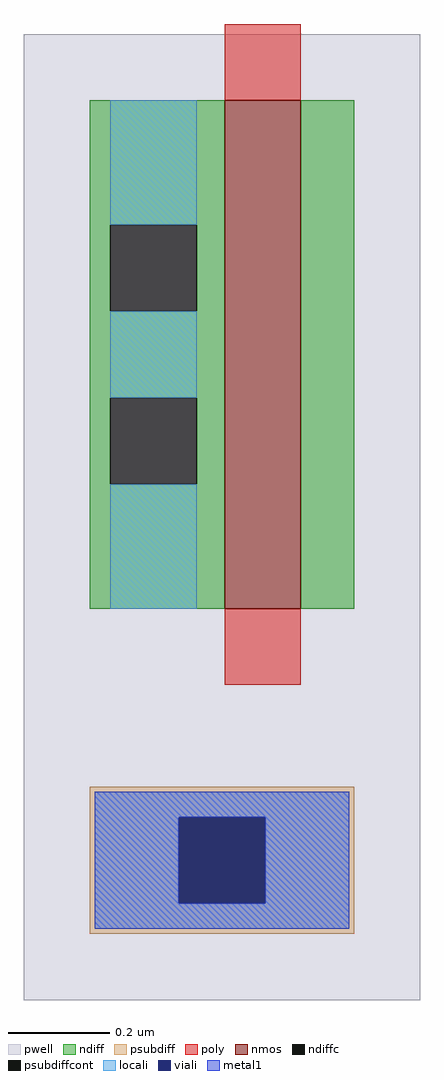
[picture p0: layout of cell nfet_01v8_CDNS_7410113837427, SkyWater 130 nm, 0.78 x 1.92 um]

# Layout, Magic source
magic
tech sky130A
magscale 1 2
<< pwell >>
rect -79 -154 77 226
<< nmos >>
rect 0 0 30 200
<< ndiff >>
rect -53 151 0 200
rect -53 117 -45 151
rect -11 117 0 151
rect -53 83 0 117
rect -53 49 -45 83
rect -11 49 0 83
rect -53 0 0 49
rect 30 0 51 200
<< ndiffc >>
rect -45 117 -11 151
rect -45 49 -11 83
<< psubdiff >>
rect -53 -82 51 -70
rect -53 -116 -18 -82
rect 16 -116 51 -82
rect -53 -128 51 -116
<< psubdiffcont >>
rect -18 -116 16 -82
<< poly >>
rect 0 200 30 230
rect 0 -30 30 0
<< locali >>
rect -45 151 -11 200
rect -45 83 -11 117
rect -45 0 -11 49
rect -51 -82 49 -72
rect -51 -116 -18 -82
rect 16 -116 49 -82
rect -51 -126 49 -116
<< viali >>
rect -18 -116 16 -82
<< metal1 >>
rect -51 -82 49 -72
rect -51 -116 -18 -82
rect 16 -116 49 -82
rect -51 -126 49 -116
<< end >>
